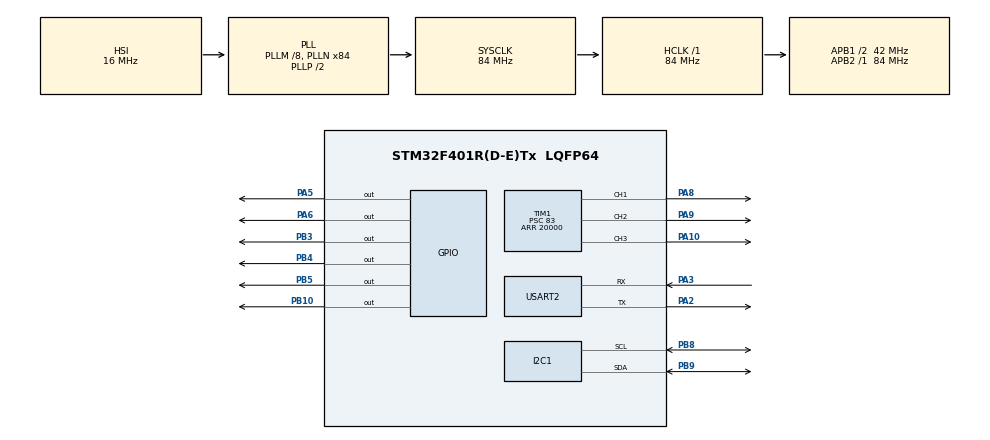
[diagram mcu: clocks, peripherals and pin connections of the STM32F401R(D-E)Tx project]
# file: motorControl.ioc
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FREERTOS.Mutexes01=UARTMutex,Dynamic,NULL
FREERTOS.Tasks01=defaultTask,0,128,StartDefaultTask,Default,NULL,Dynamic,NULL,NULL;ConsoleTask,0,512,StartConsoleTask,As external,NULL,Dynamic,NULL,NULL;MotorControlTas,0,512,StartMotorControlTask,As external,NULL,Dynamic,NULL,NULL
FREERTOS.configUSE_NEWLIB_REENTRANT=1
I2C1.OwnAddress=0x10
Mcu.Family=STM32F4
Mcu.Name=STM32F401R(D-E)Tx
Mcu.Package=LQFP64
NVIC.I2C1_ER_IRQn=true\:5\:0\:false\:false\:true\:true\:true\:true\:true
NVIC.I2C1_EV_IRQn=true\:5\:0\:false\:false\:true\:true\:true\:true\:true
NVIC.PriorityGroup=NVIC_PRIORITYGROUP_4
NVIC.TIM1_BRK_TIM9_IRQn=true\:5\:0\:false\:false\:true\:true\:true\:true\:true
NVIC.TIM1_CC_IRQn=true\:5\:0\:false\:false\:true\:true\:true\:true\:true
NVIC.TIM1_TRG_COM_TIM11_IRQn=true\:5\:0\:false\:false\:true\:true\:true\:true\:true
NVIC.TIM1_UP_TIM10_IRQn=true\:5\:0\:false\:false\:true\:true\:true\:true\:true
NVIC.TIM2_IRQn=true\:15\:0\:false\:false\:true\:false\:false\:true\:true
NVIC.TimeBase=TIM2_IRQn
NVIC.TimeBaseIP=TIM2
NVIC.USART2_IRQn=true\:5\:0\:false\:false\:true\:true\:true\:true\:true
PA10.Signal=S_TIM1_CH3
PA13.Mode=Serial_Wire
PA13.Signal=SYS_JTMS-SWDIO
PA14.Mode=Serial_Wire
PA14.Signal=SYS_JTCK-SWCLK
PA2.Mode=Asynchronous
PA2.Signal=USART2_TX
PA3.Mode=Asynchronous
PA3.Signal=USART2_RX
PA5.Signal=GPIO_Output
PA6.Signal=GPIO_Output
PA8.Signal=S_TIM1_CH1
PA9.Signal=S_TIM1_CH2
PB10.Signal=GPIO_Output
PB3.Signal=GPIO_Output
PB4.Signal=GPIO_Output
PB5.Signal=GPIO_Output
PB8.Mode=I2C
PB8.Signal=I2C1_SCL
PB9.Mode=I2C
PB9.Signal=I2C1_SDA
PC14-OSC32_IN.Mode=LSE-External-Oscillator
PC14-OSC32_IN.Signal=RCC_OSC32_IN
PC15-OSC32_OUT.Mode=LSE-External-Oscillator
PC15-OSC32_OUT.Signal=RCC_OSC32_OUT
PC7.Signal=S_TIM3_CH2
PH0\ -\ OSC_IN.Mode=HSE-External-Oscillator
PH0\ -\ OSC_IN.Signal=RCC_OSC_IN
PH1\ -\ OSC_OUT.Mode=HSE-External-Oscillator
PH1\ -\ OSC_OUT.Signal=RCC_OSC_OUT
ProjectManager.HeapSize=0x200
ProjectManager.StackSize=0x400
ProjectManager.TargetToolchain=STM32CubeIDE
RCC.48MHZClocksFreq_Value=42000000
RCC.AHBFreq_Value=84000000
RCC.APB1CLKDivider=RCC_HCLK_DIV2
RCC.APB1Freq_Value=42000000
RCC.APB1TimFreq_Value=84000000
RCC.APB2Freq_Value=84000000
RCC.APB2TimFreq_Value=84000000
RCC.CortexFreq_Value=84000000
RCC.HCLKFreq_Value=84000000
RCC.HSE_VALUE=25000000
RCC.HSI_VALUE=16000000
RCC.PLLM=8
RCC.PLLN=84
RCC.SYSCLKFreq_VALUE=84000000
RCC.SYSCLKSource=RCC_SYSCLKSOURCE_PLLCLK
RCC.VCOOutputFreq_Value=168000000
SH.S_TIM1_CH1.0=TIM1_CH1,PWM Generation1 CH1
SH.S_TIM1_CH2.0=TIM1_CH2,PWM Generation2 CH2
SH.S_TIM1_CH3.0=TIM1_CH3,PWM Generation3 CH3
SH.S_TIM3_CH2.0=TIM3_CH2
TIM1.Channel-PWM\ Generation1\ CH1=TIM_CHANNEL_1
TIM1.Channel-PWM\ Generation2\ CH2=TIM_CHANNEL_2
TIM1.Channel-PWM\ Generation3\ CH3=TIM_CHANNEL_3
TIM1.Period=20000
TIM1.Prescaler=83
USART2.VirtualMode=VM_ASYNC
VP_FREERTOS_VS_CMSIS_V1.Mode=CMSIS_V1
VP_SYS_VS_tim2.Mode=TIM2
board=custom

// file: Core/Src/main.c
/* USER CODE BEGIN Header */
/**
  ******************************************************************************
  * @file           : main.c
  * @brief          : Main program body
  ******************************************************************************
  * @attention
  *
  * Copyright (c) 2024 STMicroelectronics.
  * All rights reserved.
  *
  * This software is licensed under terms that can be found in the LICENSE file
  * in the root directory of this software component.
  * If no LICENSE file comes with this software, it is provided AS-IS.
  *
  ******************************************************************************
  */
/* USER CODE END Header */
#include "main.h"
#include "cmsis_os.h"

I2C_HandleTypeDef hi2c1;

TIM_HandleTypeDef htim1;

UART_HandleTypeDef huart2;

osThreadId defaultTaskHandle;
osThreadId ConsoleTaskHandle;
osThreadId MotorControlTasHandle;
osMutexId UARTMutexHandle;
/* USER CODE BEGIN PV */
volatile int isMoving1 = 0;
volatile int dir1 = 0;
volatile int step1 = 0;
volatile int isMoving2 = 0;
volatile int dir2 = 0;
volatile int step2 = 0;
volatile int isMoving3 = 0;
volatile int dir3 = 0;
volatile int step3 = 0;
/* USER CODE END PV */

void SystemClock_Config(void);
static void MX_GPIO_Init(void);
static void MX_I2C1_Init(void);
static void MX_USART2_UART_Init(void);
static void MX_TIM1_Init(void);
void StartDefaultTask(void const * argument);
extern void StartConsoleTask(void const * argument);
extern void StartMotorControlTask(void const * argument);

/* USER CODE BEGIN PFP */

int __io_putchar(int ch) {
    osMutexWait(UARTMutexHandle, osWaitForever); // Ensure thread-safe access
    HAL_UART_Transmit(&huart2, (uint8_t *)&ch, 1, HAL_MAX_DELAY);
    osMutexRelease(UARTMutexHandle);
    return ch;
}

int _write(int file, char *ptr, int len) {
    if (file == 1 || file == 2) {
        osMutexWait(UARTMutexHandle, osWaitForever); // Corrected to use the handle
        HAL_UART_Transmit(&huart2, (uint8_t *)ptr, len, HAL_MAX_DELAY);
        osMutexRelease(UARTMutexHandle); // Corrected to use the handle
        return len;
    }
    return -1;
}

/* USER CODE END PFP */

int main(void)
{

  /* MCU Configuration--------------------------------------------------------*/

  /* Reset of all peripherals, Initializes the Flash interface and the Systick. */
  HAL_Init();

  /* Configure the system clock */
  SystemClock_Config();

  /* Initialize all configured peripherals */
  MX_GPIO_Init();
  MX_I2C1_Init();
  MX_USART2_UART_Init();
  MX_TIM1_Init();

  /* Create the mutex(es) */
  /* definition and creation of UARTMutex */
  osMutexDef(UARTMutex);
  UARTMutexHandle = osMutexCreate(osMutex(UARTMutex));

  /* Create the thread(s) */
  /* definition and creation of defaultTask */
  osThreadDef(defaultTask, StartDefaultTask, osPriorityNormal, 0, 128);
  defaultTaskHandle = osThreadCreate(osThread(defaultTask), NULL);

  /* definition and creation of ConsoleTask */
  osThreadDef(ConsoleTask, StartConsoleTask, osPriorityNormal, 0, 512);
  ConsoleTaskHandle = osThreadCreate(osThread(ConsoleTask), NULL);

  /* definition and creation of MotorControlTas */
  osThreadDef(MotorControlTas, StartMotorControlTask, osPriorityNormal, 0, 512);
  MotorControlTasHandle = osThreadCreate(osThread(MotorControlTas), NULL);

  /* Start scheduler */
  osKernelStart();
  /* We should never get here as control is now taken by the scheduler */
  /* Infinite loop */
  while (1)
  {

  }
}

void SystemClock_Config(void)
{
  RCC_OscInitTypeDef RCC_OscInitStruct = {0};
  RCC_ClkInitTypeDef RCC_ClkInitStruct = {0};

  /** Configure the main internal regulator output voltage
  */
  __HAL_RCC_PWR_CLK_ENABLE();
  __HAL_PWR_VOLTAGESCALING_CONFIG(PWR_REGULATOR_VOLTAGE_SCALE2);

  /** Initializes the RCC Oscillators according to the specified parameters
  * in the RCC_OscInitTypeDef structure.
  */
  RCC_OscInitStruct.OscillatorType = RCC_OSCILLATORTYPE_HSI;
  RCC_OscInitStruct.HSIState = RCC_HSI_ON;
  RCC_OscInitStruct.HSICalibrationValue = RCC_HSICALIBRATION_DEFAULT;
  RCC_OscInitStruct.PLL.PLLState = RCC_PLL_ON;
  RCC_OscInitStruct.PLL.PLLSource = RCC_PLLSOURCE_HSI;
  RCC_OscInitStruct.PLL.PLLM = 8;
  RCC_OscInitStruct.PLL.PLLN = 84;
  RCC_OscInitStruct.PLL.PLLP = RCC_PLLP_DIV2;
  RCC_OscInitStruct.PLL.PLLQ = 4;
  if (HAL_RCC_OscConfig(&RCC_OscInitStruct) != HAL_OK)
  {
    Error_Handler();
  }

  /** Initializes the CPU, AHB and APB buses clocks
  */
  RCC_ClkInitStruct.ClockType = RCC_CLOCKTYPE_HCLK|RCC_CLOCKTYPE_SYSCLK
                              |RCC_CLOCKTYPE_PCLK1|RCC_CLOCKTYPE_PCLK2;
  RCC_ClkInitStruct.SYSCLKSource = RCC_SYSCLKSOURCE_PLLCLK;
  RCC_ClkInitStruct.AHBCLKDivider = RCC_SYSCLK_DIV1;
  RCC_ClkInitStruct.APB1CLKDivider = RCC_HCLK_DIV2;
  RCC_ClkInitStruct.APB2CLKDivider = RCC_HCLK_DIV1;

  if (HAL_RCC_ClockConfig(&RCC_ClkInitStruct, FLASH_LATENCY_2) != HAL_OK)
  {
    Error_Handler();
  }
}

static void MX_I2C1_Init(void)
{

  hi2c1.Instance = I2C1;
  hi2c1.Init.ClockSpeed = 100000;
  hi2c1.Init.DutyCycle = I2C_DUTYCYCLE_2;
  hi2c1.Init.OwnAddress1 = 32;
  hi2c1.Init.AddressingMode = I2C_ADDRESSINGMODE_7BIT;
  hi2c1.Init.DualAddressMode = I2C_DUALADDRESS_DISABLE;
  hi2c1.Init.OwnAddress2 = 0;
  hi2c1.Init.GeneralCallMode = I2C_GENERALCALL_DISABLE;
  hi2c1.Init.NoStretchMode = I2C_NOSTRETCH_DISABLE;
  if (HAL_I2C_Init(&hi2c1) != HAL_OK)
  {
    Error_Handler();
  }

}

static void MX_TIM1_Init(void)
{

  TIM_MasterConfigTypeDef sMasterConfig = {0};
  TIM_OC_InitTypeDef sConfigOC = {0};
  TIM_BreakDeadTimeConfigTypeDef sBreakDeadTimeConfig = {0};

  htim1.Instance = TIM1;
  htim1.Init.Prescaler = 83;
  htim1.Init.CounterMode = TIM_COUNTERMODE_UP;
  htim1.Init.Period = 20000;
  htim1.Init.ClockDivision = TIM_CLOCKDIVISION_DIV1;
  htim1.Init.RepetitionCounter = 0;
  htim1.Init.AutoReloadPreload = TIM_AUTORELOAD_PRELOAD_DISABLE;
  if (HAL_TIM_PWM_Init(&htim1) != HAL_OK)
  {
    Error_Handler();
  }
  sMasterConfig.MasterOutputTrigger = TIM_TRGO_RESET;
  sMasterConfig.MasterSlaveMode = TIM_MASTERSLAVEMODE_DISABLE;
  if (HAL_TIMEx_MasterConfigSynchronization(&htim1, &sMasterConfig) != HAL_OK)
  {
    Error_Handler();
  }
  sConfigOC.OCMode = TIM_OCMODE_PWM1;
  sConfigOC.Pulse = 0;
  sConfigOC.OCPolarity = TIM_OCPOLARITY_HIGH;
  sConfigOC.OCNPolarity = TIM_OCNPOLARITY_HIGH;
  sConfigOC.OCFastMode = TIM_OCFAST_DISABLE;
  sConfigOC.OCIdleState = TIM_OCIDLESTATE_RESET;
  sConfigOC.OCNIdleState = TIM_OCNIDLESTATE_RESET;
  if (HAL_TIM_PWM_ConfigChannel(&htim1, &sConfigOC, TIM_CHANNEL_1) != HAL_OK)
  {
    Error_Handler();
  }
  if (HAL_TIM_PWM_ConfigChannel(&htim1, &sConfigOC, TIM_CHANNEL_2) != HAL_OK)
  {
    Error_Handler();
  }
  if (HAL_TIM_PWM_ConfigChannel(&htim1, &sConfigOC, TIM_CHANNEL_3) != HAL_OK)
  {
    Error_Handler();
  }
  sBreakDeadTimeConfig.OffStateRunMode = TIM_OSSR_DISABLE;
  sBreakDeadTimeConfig.OffStateIDLEMode = TIM_OSSI_DISABLE;
  sBreakDeadTimeConfig.LockLevel = TIM_LOCKLEVEL_OFF;
  sBreakDeadTimeConfig.DeadTime = 0;
  sBreakDeadTimeConfig.BreakState = TIM_BREAK_DISABLE;
  sBreakDeadTimeConfig.BreakPolarity = TIM_BREAKPOLARITY_HIGH;
  sBreakDeadTimeConfig.AutomaticOutput = TIM_AUTOMATICOUTPUT_DISABLE;
  if (HAL_TIMEx_ConfigBreakDeadTime(&htim1, &sBreakDeadTimeConfig) != HAL_OK)
  {
    Error_Handler();
  }
  /* USER CODE BEGIN TIM1_Init 2 */
  HAL_TIM_Base_Start_IT(&htim1);
  HAL_NVIC_SetPriority(TIM1_UP_TIM10_IRQn, 0, 0);
  HAL_NVIC_EnableIRQ(TIM1_UP_TIM10_IRQn);
  /* USER CODE END TIM1_Init 2 */
  HAL_TIM_MspPostInit(&htim1);

}

static void MX_USART2_UART_Init(void)
{

  huart2.Instance = USART2;
  huart2.Init.BaudRate = 115200;
  huart2.Init.WordLength = UART_WORDLENGTH_8B;
  huart2.Init.StopBits = UART_STOPBITS_1;
  huart2.Init.Parity = UART_PARITY_NONE;
  huart2.Init.Mode = UART_MODE_TX_RX;
  huart2.Init.HwFlowCtl = UART_HWCONTROL_NONE;
  huart2.Init.OverSampling = UART_OVERSAMPLING_16;
  if (HAL_UART_Init(&huart2) != HAL_OK)
  {
    Error_Handler();
  }

}

static void MX_GPIO_Init(void)
{
  GPIO_InitTypeDef GPIO_InitStruct = {0};

  /* GPIO Ports Clock Enable */
  __HAL_RCC_GPIOC_CLK_ENABLE();
  __HAL_RCC_GPIOH_CLK_ENABLE();
  __HAL_RCC_GPIOA_CLK_ENABLE();
  __HAL_RCC_GPIOB_CLK_ENABLE();

  /*Configure GPIO pin Output Level */
  HAL_GPIO_WritePin(GPIOA, GPIO_PIN_5|GPIO_PIN_6, GPIO_PIN_RESET);

  /*Configure GPIO pin Output Level */
  HAL_GPIO_WritePin(GPIOB, GPIO_PIN_10|GPIO_PIN_3|GPIO_PIN_4|GPIO_PIN_5, GPIO_PIN_RESET);

  /*Configure GPIO pins : PA5 PA6 */
  GPIO_InitStruct.Pin = GPIO_PIN_5|GPIO_PIN_6;
  GPIO_InitStruct.Mode = GPIO_MODE_OUTPUT_PP;
  GPIO_InitStruct.Pull = GPIO_NOPULL;
  GPIO_InitStruct.Speed = GPIO_SPEED_FREQ_LOW;
  HAL_GPIO_Init(GPIOA, &GPIO_InitStruct);

  /*Configure GPIO pins : PB10 PB3 PB4 PB5 */
  GPIO_InitStruct.Pin = GPIO_PIN_10|GPIO_PIN_3|GPIO_PIN_4|GPIO_PIN_5;
  GPIO_InitStruct.Mode = GPIO_MODE_OUTPUT_PP;
  GPIO_InitStruct.Pull = GPIO_NOPULL;
  GPIO_InitStruct.Speed = GPIO_SPEED_FREQ_LOW;
  HAL_GPIO_Init(GPIOB, &GPIO_InitStruct);

  /*Configure GPIO pin : PC7 */
  GPIO_InitStruct.Pin = GPIO_PIN_7;
  GPIO_InitStruct.Mode = GPIO_MODE_AF_PP;
  GPIO_InitStruct.Pull = GPIO_NOPULL;
  GPIO_InitStruct.Speed = GPIO_SPEED_FREQ_LOW;
  GPIO_InitStruct.Alternate = GPIO_AF2_TIM3;
  HAL_GPIO_Init(GPIOC, &GPIO_InitStruct);

}

void StartDefaultTask(void const * argument)
{
  for(;;)
  {
	  osDelay(1);
  }
}

void HAL_TIM_PeriodElapsedCallback(TIM_HandleTypeDef *htim)
{
  if (htim->Instance == TIM2) {
    HAL_IncTick();
  }
  /* USER CODE BEGIN Callback 1 */
  if (htim->Instance == TIM1) {
	  if(isMoving1) {
		  if(dir1) step1++;
		  else step1--;
	  }
	  if(isMoving2) {
		  if(dir2) step2++;
		  else step2--;
	  }
	  if(isMoving3) {
		  if(dir3) step3++;
		  else step3--;
	  }
  }
//  if (htim->Instance == TIM3) {
//	  if(dir3) timer3++;
//	  else timer3--;
//  }
//  if (htim->Instance == TIM4) {
//	  if(dir4) timer4++;
//	  else timer4--;
//  }
  /* USER CODE END Callback 1 */
}

void Error_Handler(void)
{
  __disable_irq();
  while (1)
  {
  }
}
